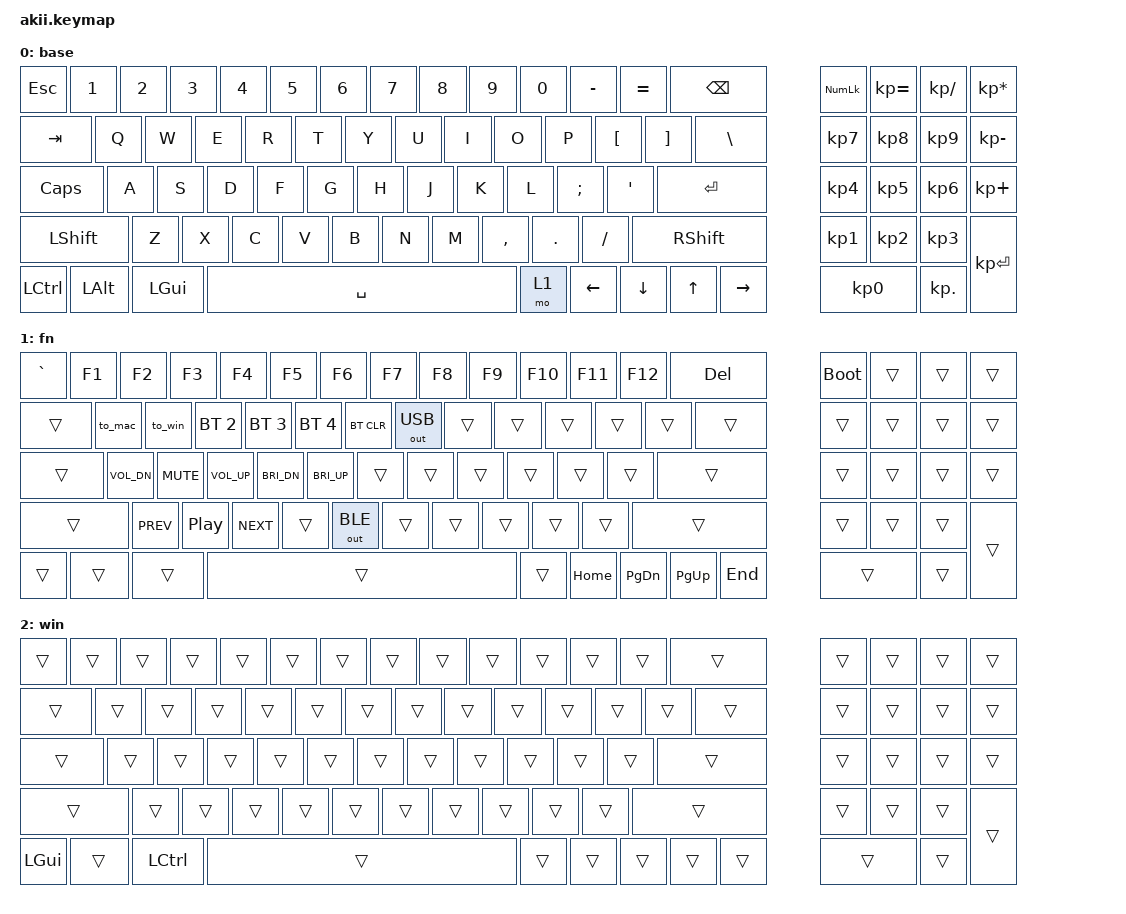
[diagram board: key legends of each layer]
/*
 * AKII keymap -- faithful Apple Keyboard II layout, top-left key is ESC.
 *
 * Layer 0 (base)  : Mac layout. Modifiers (left of space) = Ctrl / Option / Cmd.
 * Layer 1 (fn)    : hold FN (key left of the arrows).
 *     number row  -> F1-F12, ESC -> grave, Backspace -> forward-delete
 *     arrows      -> Home / PgDn / PgUp / End
 *     A/S/D       -> volume down / mute / volume up   (left-hand media cluster)
 *     F/G         -> brightness down / up
 *     Z/X/C       -> prev / play-pause / next
 *     Q           -> "to Mac"     macro (BLE out + BT profile 0 + base layer)
 *     W           -> "to Windows" macro (BLE out + BT profile 1 + win layer)
 *     E/R/T       -> BT profiles 2/3/4, Y -> BT clear, U -> USB out, B -> BLE out
 *     Clear(Numlock) -> bootloader
 * Layer 2 (win)   : Windows host. SAME layout as Mac (everything transparent
 *     falls through to base), EXCEPT the bottom-left modifiers are swapped so
 *     Mac muscle memory works on Windows:
 *         Cmd  key (GUI position) -> Ctrl   (so Cmd+C  becomes Ctrl+C)
 *         Ctrl key                -> GUI    (gives you a real Windows key)
 *         Option                  -> Alt    (unchanged)
 *     Switch in/out with FN+W (enter) / FN+Q (back to Mac).
 *
 * ZMK Studio stays unlocked by default (CONFIG_ZMK_STUDIO_LOCKING=n).
 */
#include <behaviors.dtsi>
#include <dt-bindings/zmk/keys.h>
#include <dt-bindings/zmk/bt.h>
#include <dt-bindings/zmk/outputs.h>

/ {
    macros {
        /* One press = pick the host AND match the keymap to that OS.
         * out OUT_BLE first so the profile switch actually routes over BLE;
         * if you're on USB and want to stay on USB, just hit FN+U after. */
        to_mac: to_mac {
            compatible = "zmk,behavior-macro";
            #binding-cells = <0>;
            wait-ms = <0>;
            tap-ms = <5>;
            bindings = <&macro_tap &out OUT_BLE &bt BT_SEL 0 &to 0>;
        };
        to_win: to_win {
            compatible = "zmk,behavior-macro";
            #binding-cells = <0>;
            wait-ms = <0>;
            tap-ms = <5>;
            bindings = <&macro_tap &out OUT_BLE &bt BT_SEL 1 &to 2>;
        };
    };

    keymap {
        compatible = "zmk,keymap";

        default_layer {
            display-name = "base";
            bindings = <
&kp ESC &kp N1 &kp N2 &kp N3 &kp N4 &kp N5 &kp N6 &kp N7 &kp N8 &kp N9 &kp N0 &kp MINUS &kp EQUAL &kp BSPC &kp KP_NUMLOCK &kp KP_EQUAL &kp KP_SLASH &kp KP_MULTIPLY
&kp TAB &kp Q &kp W &kp E &kp R &kp T &kp Y &kp U &kp I &kp O &kp P &kp LBKT &kp RBKT &kp BSLH &kp KP_N7 &kp KP_N8 &kp KP_N9 &kp KP_MINUS
&kp CAPS &kp A &kp S &kp D &kp F &kp G &kp H &kp J &kp K &kp L &kp SEMI &kp SQT &kp RET &kp KP_N4 &kp KP_N5 &kp KP_N6 &kp KP_PLUS
&kp LSHFT &kp Z &kp X &kp C &kp V &kp B &kp N &kp M &kp COMMA &kp DOT &kp FSLH &kp RSHFT &kp KP_N1 &kp KP_N2 &kp KP_N3 &kp KP_ENTER
&kp LCTRL &kp LALT &kp LGUI &kp SPACE &mo 1 &kp LEFT &kp DOWN &kp UP &kp RIGHT &kp KP_N0 &kp KP_DOT
            >;
        };

        fn_layer {
            display-name = "fn";
            bindings = <
&kp GRAVE &kp F1 &kp F2 &kp F3 &kp F4 &kp F5 &kp F6 &kp F7 &kp F8 &kp F9 &kp F10 &kp F11 &kp F12 &kp DEL &bootloader &trans &trans &trans
&trans &to_mac &to_win &bt BT_SEL 2 &bt BT_SEL 3 &bt BT_SEL 4 &bt BT_CLR &out OUT_USB &trans &trans &trans &trans &trans &trans &trans &trans &trans &trans
&trans &kp C_VOL_DN &kp C_MUTE &kp C_VOL_UP &kp C_BRI_DN &kp C_BRI_UP &trans &trans &trans &trans &trans &trans &trans &trans &trans &trans &trans
&trans &kp C_PREV &kp C_PP &kp C_NEXT &trans &out OUT_BLE &trans &trans &trans &trans &trans &trans &trans &trans &trans &trans
&trans &trans &trans &trans &trans &kp HOME &kp PG_DN &kp PG_UP &kp END &trans &trans
            >;
        };

        win_layer {
            display-name = "win";
            bindings = <
&trans &trans &trans &trans &trans &trans &trans &trans &trans &trans &trans &trans &trans &trans &trans &trans &trans &trans
&trans &trans &trans &trans &trans &trans &trans &trans &trans &trans &trans &trans &trans &trans &trans &trans &trans &trans
&trans &trans &trans &trans &trans &trans &trans &trans &trans &trans &trans &trans &trans &trans &trans &trans &trans
&trans &trans &trans &trans &trans &trans &trans &trans &trans &trans &trans &trans &trans &trans &trans &trans
&kp LGUI &trans &kp LCTRL &trans &trans &trans &trans &trans &trans &trans &trans
            >;
        };
    };
};
